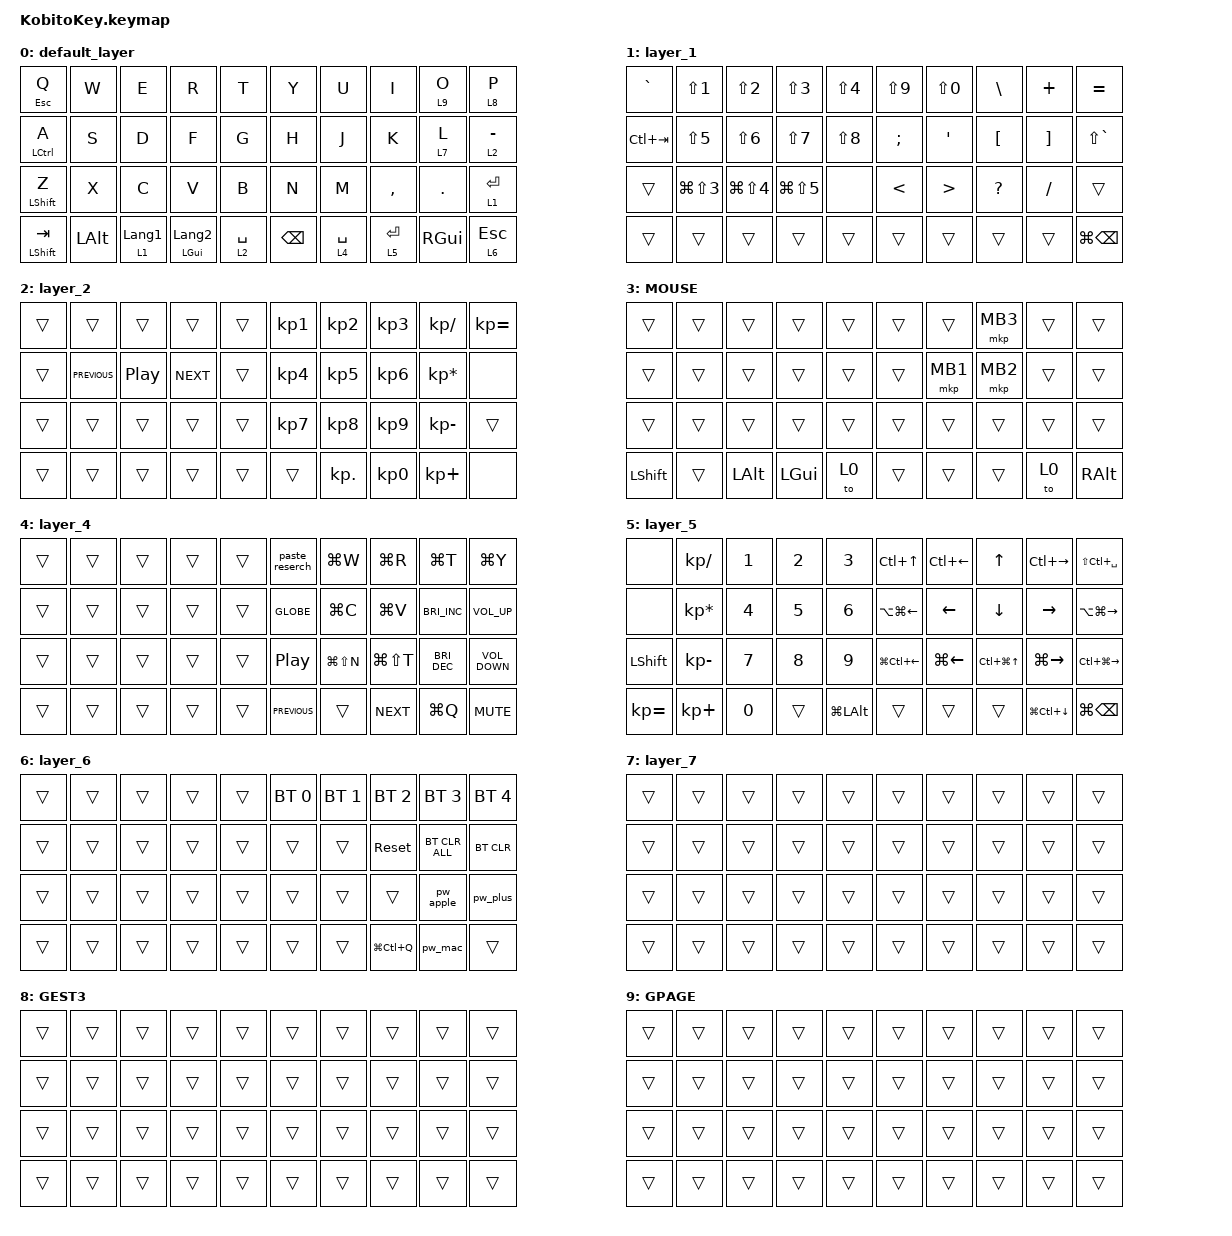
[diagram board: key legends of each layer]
#include <input/processors.dtsi>
#include <behaviors.dtsi>
#include <dt-bindings/zmk/bt.h>
#include <dt-bindings/zmk/keys.h>
#include <dt-bindings/zmk/pointing.h>

/ {
    combos {
        compatible = "zmk,combos";

        combo_eisu {
            timeout-ms = <50>;
            key-positions = <12 13>;
            bindings = <&kp LANG2>;
        };

        combo_kana {
            timeout-ms = <50>;
            key-positions = <16 17>;
            bindings = <&kp LANG1>;
        };

        combo_esc {
            timeout-ms = <50>;
            key-positions = <0 1>;
            bindings = <&kp ESC>;
        };

        combo_tab {
            timeout-ms = <50>;
            key-positions = <10 11>;
            bindings = <&kp TAB>;
        };
    };

    macros {
        paste_reserch: paste_reserch {
            compatible = "zmk,behavior-macro";
            #binding-cells = <0>;
            bindings =
                <&kp LG(C)>,
                <&macro_wait_time 200>,
                <&kp LG(T)>,
                <&macro_wait_time 200>,
                <&kp LG(V)>,
                <&macro_wait_time 200>,
                <&kp ENTER>,
                <&macro_press>;

            label = "PASTE_RESERCH";
        };

        pw_mac: pq_mac {
            compatible = "zmk,behavior-macro";
            #binding-cells = <0>;
            bindings = <&kp N0 &kp N0 &kp N0 &kp N1 &kp N0 &kp N2 &kp ENTER>;
            label = "PQ_MAC";
        };

        pw_plus: pw_plus {
            compatible = "zmk,behavior-macro";
            #binding-cells = <0>;
            bindings = <&kp P &kp L &kp U &kp S &kp N1 &kp N0 &kp N2 &kp N0 &kp RETURN>;
            label = "PW_PLUS";
        };

        pw_apple: pw_apple {
            compatible = "zmk,behavior-macro";
            #binding-cells = <0>;
            bindings = <&kp R &kp LS(I) &kp N1 &kp H &kp N &kp A &kp G &kp T &kp O &kp E &kp RETURN>;
            label = "PW_APPLE";
        };
    };

    keymap {
        compatible = "zmk,keymap";

        default_layer {
            bindings = <
&mt ESC Q           &kp W         &kp E             &kp R                    &kp T        &kp Y          &kp U        &kp I        &lt 9 O        &lt 8 P
&mt LEFT_CONTROL A  &kp S         &kp D             &kp F                    &kp G        &kp H          &kp J        &kp K        &lt 7 L        &lt 2 MINUS
&mt LEFT_SHIFT Z    &kp X         &kp C             &kp V                    &kp B        &kp N          &kp M        &kp COMMA    &kp PERIOD     &lt 1 ENTER
&mt LEFT_SHIFT TAB  &kp LEFT_ALT  &lt 1 LANGUAGE_1  &mt LEFT_GUI LANGUAGE_2  &lt 2 SPACE  &kp BACKSPACE  &lt 4 SPACE  &lt 5 ENTER  &kp RIGHT_GUI  &lt 6 ESCAPE
            >;
        };

        layer_1 {
            bindings = <
&kp GRAVE    &kp LS(NUMBER_1)      &kp LS(NUMBER_2)      &kp LS(NUMBER_3)  &kp LS(NUMBER_4)  &kp LS(N9)     &kp LS(N0)        &kp BACKSLASH     &kp PLUS           &kp EQUAL
&kp LC(TAB)  &kp LS(N5)            &kp LS(NUMBER_6)      &kp LS(N7)        &kp LS(N8)        &kp SEMICOLON  &kp SQT           &kp LEFT_BRACKET  &kp RIGHT_BRACKET  &kp LS(GRAVE)
&trans       &kp LG(LS(NUMBER_3))  &kp LG(LS(NUMBER_4))  &kp LG(LS(N5))    &none             &kp LESS_THAN  &kp GREATER_THAN  &kp QUESTION      &kp SLASH          &trans
&trans       &trans                &trans                &trans            &trans            &trans         &trans            &trans            &trans             &kp LG(BACKSPACE)
            >;
        };

        layer_2 {
            bindings = <
&trans  &trans          &trans            &trans      &trans  &kp KP_NUMBER_1  &kp KP_NUMBER_2  &kp KP_NUMBER_3  &kp KP_SLASH     &kp KP_EQUAL
&trans  &kp C_PREVIOUS  &kp C_PLAY_PAUSE  &kp C_NEXT  &trans  &kp KP_NUMBER_4  &kp KP_NUMBER_5  &kp KP_NUMBER_6  &kp KP_ASTERISK  &none
&trans  &trans          &trans            &trans      &trans  &kp KP_NUMBER_7  &kp KP_NUMBER_8  &kp KP_NUMBER_9  &kp KP_MINUS     &trans
&trans  &trans          &trans            &trans      &trans  &trans           &kp KP_DOT       &kp KP_NUMBER_0  &kp KP_PLUS      &none
            >;
        };

        layer_3 {
            bindings = <
&trans          &trans  &trans        &trans        &trans  &trans    &trans    &mkp MB3  &trans  &trans
&trans          &trans  &trans        &trans        &trans  &trans    &mkp MB1  &mkp MB2  &trans  &trans
&trans          &trans  &trans        &trans        &trans  &trans    &trans    &trans  &trans  &trans
&kp LEFT_SHIFT  &trans  &kp LEFT_ALT  &kp LEFT_GUI  &to 0   &trans    &trans    &trans  &to 0   &kp RIGHT_ALT
            >;

            label = "MOUSE";
        };

        layer_4 {
            bindings = <
&trans  &trans  &trans  &trans  &trans  &paste_reserch    &kp LG(W)      &kp LG(R)      &kp LG(T)             &kp LG(Y)
&trans  &trans  &trans  &trans  &trans  &kp GLOBE         &kp LG(C)      &kp LG(V)      &kp C_BRIGHTNESS_INC  &kp C_VOLUME_UP
&trans  &trans  &trans  &trans  &trans  &kp C_PLAY_PAUSE  &kp LG(LS(N))  &kp LG(LS(T))  &kp C_BRIGHTNESS_DEC  &kp C_VOLUME_DOWN
&trans  &trans  &trans  &trans  &trans  &kp C_PREVIOUS    &trans         &kp C_NEXT     &kp LG(Q)             &kp K_MUTE
            >;
        };

        layer_5 {
            bindings = <
&none           &kp KP_SLASH     &kp NUMBER_1  &kp NUMBER_2  &kp NUMBER_3      &kp LC(UP_ARROW)        &kp LC(LEFT)        &kp UP_ARROW          &kp LC(RIGHT)           &kp LS(LC(SPACE))
&none           &kp KP_MULTIPLY  &kp NUMBER_4  &kp N5        &kp NUMBER_6      &kp LA(LG(LEFT_ARROW))  &kp LEFT_ARROW      &kp DOWN_ARROW        &kp RIGHT_ARROW         &kp LA(LG(RIGHT_ARROW))
&kp LEFT_SHIFT  &kp KP_MINUS     &kp N7        &kp N8        &kp N9            &kp LG(LC(LEFT_ARROW))  &kp LG(LEFT_ARROW)  &kp LC(LG(UP_ARROW))  &kp LG(RIGHT_ARROW)     &kp LC(LG(RIGHT_ARROW))
&kp KP_EQUAL    &kp KP_PLUS      &kp N0        &trans        &kp LG(LEFT_ALT)  &trans                  &trans              &trans                &kp LG(LC(DOWN_ARROW))  &kp LG(BACKSPACE)
            >;
        };

        layer_6 {
            bindings = <
&trans  &trans  &trans  &trans  &trans  &bt BT_SEL 0  &bt BT_SEL 1  &bt BT_SEL 2   &bt BT_SEL 3    &bt BT_SEL 4
&trans  &trans  &trans  &trans  &trans  &trans        &trans        &sys_reset     &bt BT_CLR_ALL  &bt BT_CLR
&trans  &trans  &trans  &trans  &trans  &trans        &trans        &trans         &pw_apple       &pw_plus
&trans  &trans  &trans  &trans  &trans  &trans        &trans        &kp LG(LC(Q))  &pw_mac         &trans
            >;
        };

        layer_7 {
            bindings = <
&trans  &trans  &trans  &trans  &trans  &trans  &trans  &trans  &trans  &trans
&trans  &trans  &trans  &trans  &trans  &trans  &trans  &trans  &trans  &trans
&trans  &trans  &trans  &trans  &trans  &trans  &trans  &trans  &trans  &trans
&trans  &trans  &trans  &trans  &trans  &trans  &trans  &trans  &trans  &trans
            >;
        };

        // GEST3 (8): P押し中のフラグ層。右ボールの動きを zip_keybind_dynamic が
        // 3本指相当ショートカットへ変換(割当は ZMK Forge から設定/NVS保持)。
        layer_8 {
            bindings = <
&trans  &trans  &trans  &trans  &trans  &trans  &trans  &trans  &trans  &trans
&trans  &trans  &trans  &trans  &trans  &trans  &trans  &trans  &trans  &trans
&trans  &trans  &trans  &trans  &trans  &trans  &trans  &trans  &trans  &trans
&trans  &trans  &trans  &trans  &trans  &trans  &trans  &trans  &trans  &trans
            >;
            label = "GEST3";
        };

        // GPAGE (9): O押し中のフラグ層。右ボールの動きを zip_keybind_dynamic が
        // ページめくり相当ショートカットへ変換(割当は ZMK Forge から設定/NVS保持)。
        layer_9 {
            bindings = <
&trans  &trans  &trans  &trans  &trans  &trans  &trans  &trans  &trans  &trans
&trans  &trans  &trans  &trans  &trans  &trans  &trans  &trans  &trans  &trans
&trans  &trans  &trans  &trans  &trans  &trans  &trans  &trans  &trans  &trans
&trans  &trans  &trans  &trans  &trans  &trans  &trans  &trans  &trans  &trans
            >;
            label = "GPAGE";
        };
    };
};
